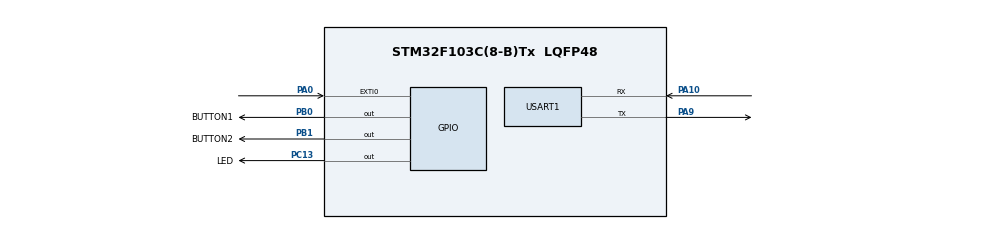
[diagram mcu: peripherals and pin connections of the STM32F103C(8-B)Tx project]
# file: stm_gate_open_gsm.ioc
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Dma.Request0=USART1_RX
Dma.USART1_RX.0.Direction=DMA_PERIPH_TO_MEMORY
Dma.USART1_RX.0.Instance=DMA1_Channel5
Dma.USART1_RX.0.MemDataAlignment=DMA_MDATAALIGN_BYTE
Dma.USART1_RX.0.MemInc=DMA_MINC_ENABLE
Dma.USART1_RX.0.Mode=DMA_CIRCULAR
Dma.USART1_RX.0.PeriphDataAlignment=DMA_PDATAALIGN_BYTE
Dma.USART1_RX.0.PeriphInc=DMA_PINC_DISABLE
Dma.USART1_RX.0.Priority=DMA_PRIORITY_LOW
IWDG.Prescaler=IWDG_PRESCALER_64
IWDG.Reload=625
Mcu.Family=STM32F1
Mcu.Name=STM32F103C(8-B)Tx
Mcu.Package=LQFP48
NVIC.DMA1_Channel5_IRQn=true\:0\:0\:false\:false\:true\:false\:true
NVIC.EXTI0_IRQn=true\:0\:0\:false\:false\:true\:true\:true
NVIC.PriorityGroup=NVIC_PRIORITYGROUP_4
NVIC.USART1_IRQn=true\:0\:0\:false\:false\:true\:true\:true
PA0-WKUP.GPIO_ModeDefaultEXTI=GPIO_MODE_IT_RISING_FALLING
PA0-WKUP.Signal=GPXTI0
PA10.Mode=Asynchronous
PA10.Signal=USART1_RX
PA13.Mode=Serial_Wire
PA13.Signal=SYS_JTMS-SWDIO
PA14.Mode=Serial_Wire
PA14.Signal=SYS_JTCK-SWCLK
PA9.Mode=Asynchronous
PA9.Signal=USART1_TX
PB0.GPIO_Label=BUTTON1
PB0.Signal=GPIO_Output
PB1.GPIO_Label=BUTTON2
PB1.Signal=GPIO_Output
PC13-TAMPER-RTC.GPIO_Label=LED
PC13-TAMPER-RTC.Signal=GPIO_Output
ProjectManager.HeapSize=0x200
ProjectManager.StackSize=0x400
ProjectManager.TargetToolchain=SW4STM32
RCC.APB1Freq_Value=8000000
RCC.APB2Freq_Value=8000000
USART1.VirtualMode=VM_ASYNC
VP_IWDG_VS_IWDG.Mode=IWDG_Activate
board=custom

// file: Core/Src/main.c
/* USER CODE BEGIN Header */
/**
  ******************************************************************************
  * @file           : main.c
  * @brief          : Main program body
  ******************************************************************************
  * @attention
  *
  * Copyright (c) 2022 STMicroelectronics.
  * All rights reserved.
  *
  * This software is licensed under terms that can be found in the LICENSE file
  * in the root directory of this software component.
  * If no LICENSE file comes with this software, it is provided AS-IS.
  *
  ******************************************************************************
  */
/* USER CODE END Header */
#include "main.h"
#include "dma.h"
#include "iwdg.h"
#include "usart.h"
#include "gpio.h"

/* USER CODE BEGIN Includes */
#include "MQTTSim800.h"
#include <stdlib.h>
#include <string.h>
#include "SIM800c.h"

/* USER CODE END Includes */

/* USER CODE BEGIN PV */
SIM800_t SIM800;
uint8_t but1 = 0;
uint8_t but2 = 0;
/* USER CODE END PV */

void SystemClock_Config(void);

/* USER CODE BEGIN 0 */
void HAL_UARTEx_RxEventCallback(UART_HandleTypeDef *huart, uint16_t Size) {
    if (huart == UART_SIM800) {
        Sim800_RxCallBack(Size);
    }
}
uint8_t buf[256];
uint8_t* host = "space.arbina.com";
uint8_t* user = "jackson";
uint8_t* pass = "Amymezyry4235";
HAL_StatusTypeDef state ;
uint32_t tickMsWaiting;
/* USER CODE END 0 */

int main(void)
{

  /* MCU Configuration--------------------------------------------------------*/

  /* Reset of all peripherals, Initializes the Flash interface and the Systick. */
  HAL_Init();

  /* Configure the system clock */
  SystemClock_Config();
  /* USER CODE BEGIN SysInit */
    MX_IWDG_Init();
    if (__HAL_RCC_GET_FLAG(RCC_FLAG_IWDGRST) != RESET)
    {
        /* IWDGRST flag set: Turn LED1 on */

        /* Clear reset flags */
        __HAL_RCC_CLEAR_RESET_FLAGS();
    }
  /* USER CODE END SysInit */

  /* Initialize all configured peripherals */
  MX_GPIO_Init();
  MX_DMA_Init();
  MX_USART1_UART_Init();

  /* USER CODE BEGIN 2 */
  HAL_Delay(5000);
    SIM800.sim.apn = "internet.mts.ru";
    SIM800.sim.apn_user = "";
    SIM800.sim.apn_pass = "";
    memcpy(SIM800.mqttServer.host, host, strlen(host) );
    SIM800.mqttServer.port = 1883;
    memcpy(SIM800.mqttClient.username, user, strlen(user) );
    memcpy(SIM800.mqttClient.pass, pass, strlen(pass) );
    SIM800.mqttClient.clientID = "TestSub";
    SIM800.mqttClient.keepAliveInterval = 120;
    MQTT_Init();
    uint8_t sub = 0;

  /* USER CODE END 2 */

  /* Infinite loop */
  /* USER CODE BEGIN WHILE */
  while (1)
  {

      if (HAL_GPIO_ReadPin(GPIOA, GPIO_PIN_0) == 0)
      {
          if ( HAL_GetTick() - SIM800.RI_time_ms > 150)
          {
              if (SIM800.mqttServer.connect == 1)
              {
                  SIM800.mqttServer.connect = 0;
                  SIM800_SendCommand("+++", "OK", 2000);
                  while (SIM800.answer == 0)
                  {

                  }

              }

              SIM800_SendCommand("ATH\r\n", "", 2000);
              SIM800_SendCommand("ATO\r\n", "", 2000);
              SIM800.mqttServer.connect = 1;
          }
      }
      if (SIM800.newSMS == 1)
      {
          if (SIM800.mqttServer.connect == 1)
          {
              SIM800.mqttServer.connect = 0;
              SIM800_SendCommand("+++", "OK", 2000);
              while (SIM800.answer == 0)
              {

              }
          }
          uint8_t oldNUm = SIM800.smsNumber;
          uint8_t num = found_sms();
          if (oldNUm != 0 && (oldNUm != num && num != 0))
          {
              HAL_NVIC_SystemReset();
          }
          SIM800_SendCommand("ATH\r\n", "", 2000);
          SIM800_SendCommand("ATO\r\n", "", 2000);
          SIM800.mqttServer.connect = 1;
          SIM800.newSMS = 0;

      }

      if (SIM800.mqttServer.connect == 0) {
          MQTT_Init();
          sub = 0;
      }
      if (SIM800.mqttServer.connect == 1) {
          if(sub == 0){
              MQTT_Sub("homeassistant/gate2/status");
              MQTT_Sub("homeassistant/gate2/key1");
              MQTT_Sub("homeassistant/gate2/key2");
              HAL_IWDG_Refresh(&hiwdg);
              sub = 1;
          }

          if(SIM800.mqttReceive.newEvent)
          {
              HAL_IWDG_Refresh(&hiwdg);
              uint8_t *payload = SIM800.mqttReceive.payload;
              if (strstr(SIM800.mqttReceive.topic, "key1") != NULL)
              {
                  if (strstr(payload, "ON") != NULL)
                  {
                      HAL_GPIO_WritePin(BUTTON1_GPIO_Port, BUTTON1_Pin, GPIO_PIN_SET);
                      MQTT_Pub("homeassistant/gate2/key1", "push");
                      HAL_Delay(1000);
                      MQTT_Pub("homeassistant/gate2/key1", "unpush");
                      HAL_GPIO_WritePin(BUTTON1_GPIO_Port, BUTTON1_Pin, GPIO_PIN_RESET);
                  }

              }
              else if (strstr(SIM800.mqttReceive.topic, "key2") != NULL)
              {
                  if (strstr(payload, "ON") != NULL)
                  {
                      HAL_GPIO_WritePin(BUTTON2_GPIO_Port, BUTTON2_Pin, GPIO_PIN_SET);
                      MQTT_Pub("homeassistant/gate2/key2", "push");
                      HAL_Delay(1000);
                      HAL_GPIO_WritePin(BUTTON2_GPIO_Port, BUTTON2_Pin, GPIO_PIN_RESET);
                      MQTT_Pub("homeassistant/gate2/key2", "unpush");

                  }

              }
              else if (strstr(SIM800.mqttReceive.topic, "status") != NULL)
              {

              }
              SIM800.mqttReceive.newEvent = 0;
          }
          uint32_t tickMs = HAL_GetTick();
          if (tickMs - tickMsWaiting > 2000)
          {
              tickMsWaiting = tickMs;
              MQTT_Pub("homeassistant/gate2/status", "online");
          }
      }
    /* USER CODE END WHILE */

  }
}

void SystemClock_Config(void)
{
  RCC_OscInitTypeDef RCC_OscInitStruct = {0};
  RCC_ClkInitTypeDef RCC_ClkInitStruct = {0};

  /** Initializes the RCC Oscillators according to the specified parameters
  * in the RCC_OscInitTypeDef structure.
  */
  RCC_OscInitStruct.OscillatorType = RCC_OSCILLATORTYPE_HSI|RCC_OSCILLATORTYPE_LSI;
  RCC_OscInitStruct.HSIState = RCC_HSI_ON;
  RCC_OscInitStruct.HSICalibrationValue = RCC_HSICALIBRATION_DEFAULT;
  RCC_OscInitStruct.LSIState = RCC_LSI_ON;
  RCC_OscInitStruct.PLL.PLLState = RCC_PLL_NONE;
  if (HAL_RCC_OscConfig(&RCC_OscInitStruct) != HAL_OK)
  {
    Error_Handler();
  }
  /** Initializes the CPU, AHB and APB buses clocks
  */
  RCC_ClkInitStruct.ClockType = RCC_CLOCKTYPE_HCLK|RCC_CLOCKTYPE_SYSCLK
                              |RCC_CLOCKTYPE_PCLK1|RCC_CLOCKTYPE_PCLK2;
  RCC_ClkInitStruct.SYSCLKSource = RCC_SYSCLKSOURCE_HSI;
  RCC_ClkInitStruct.AHBCLKDivider = RCC_SYSCLK_DIV1;
  RCC_ClkInitStruct.APB1CLKDivider = RCC_HCLK_DIV1;
  RCC_ClkInitStruct.APB2CLKDivider = RCC_HCLK_DIV1;

  if (HAL_RCC_ClockConfig(&RCC_ClkInitStruct, FLASH_LATENCY_0) != HAL_OK)
  {
    Error_Handler();
  }
}

void Error_Handler(void)
{
  __disable_irq();
  while (1)
  {
  }
}
